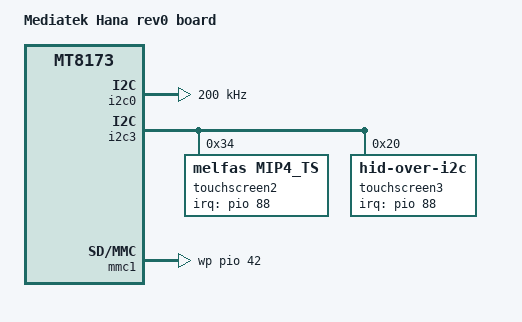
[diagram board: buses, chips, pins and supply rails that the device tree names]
/*
 * Copyright 2016 MediaTek Inc.
 * Author: Eddie Huang <eddie.huang@mediatek.com>
 *
 * This program is free software; you can redistribute it and/or modify
 * it under the terms of the GNU General Public License version 2 as
 * published by the Free Software Foundation.
 *
 * This program is distributed in the hope that it will be useful,
 * but WITHOUT ANY WARRANTY; without even the implied warranty of
 * MERCHANTABILITY or FITNESS FOR A PARTICULAR PURPOSE.  See the
 * GNU General Public License for more details.
 */

/dts-v1/;
#include "mt8173-oak.dtsi"

/ {
	model = "Mediatek Hana rev0 board";
	compatible = "google,hana-rev6",
			"google,hana-rev5", "google,hana-rev4",
			"google,hana-rev3", "google,hana-rev2",
			"google,hana-rev1", "google,hana-rev0",
			"google,hana", "mediatek,mt8173";
};

&i2c_tunnel {
	google,limited-passthrough;
};

&i2c0 {
	clock-frequency = <200000>;
};

&i2c3 {
	touchscreen2: touchscreen@34 {
		compatible = "melfas,mip4_ts";
		reg = <0x34>;
		interrupt-parent = <&pio>;
		interrupts = <88 IRQ_TYPE_LEVEL_LOW>;
	};

	touchscreen3: touchscreen@20 {
		compatible = "hid-over-i2c";
		reg = <0x20>;
		hid-descr-addr = <0x0020>;
		interrupt-parent = <&pio>;
		interrupts = <88 IRQ_TYPE_LEVEL_LOW>;
	};
};

&mmc1 {
	wp-gpios = <&pio 42 GPIO_ACTIVE_HIGH>;
};

&pio {
	hdmi_mux_pins: hdmi_mux_pins {
		pins2 {
			pinmux = <MT8173_PIN_98_URTS1__FUNC_GPIO98>;
			bias-pull-up;
			output-high;
		};
	};

	mmc1_pins_default: mmc1default {
		pins_wp {
			pinmux = <MT8173_PIN_42_DSI_TE__FUNC_GPIO42>;
			input-enable;
			bias-pull-up;
		};
	};
};
